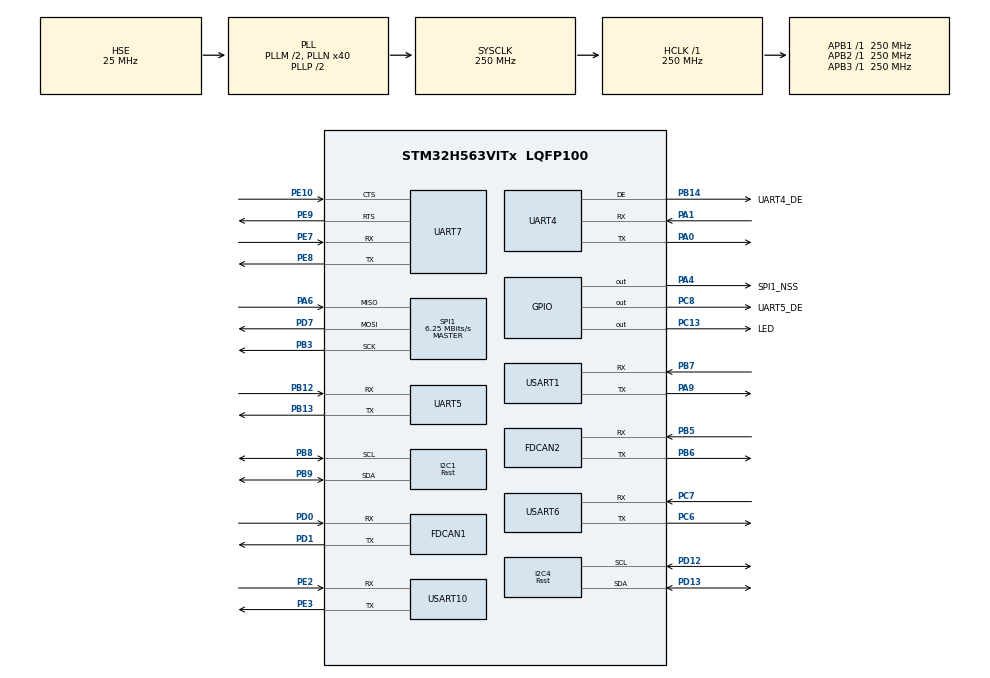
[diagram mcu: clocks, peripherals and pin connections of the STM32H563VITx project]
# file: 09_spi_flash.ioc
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BOOTPATH.BootPathName=LEGACY
BOOTPATH.UserSelectedBootPath=LEGACY
CORTEX_M33_NS.userName=CORTEX_M33
FDCAN1.CalculateBaudRateNominal=1666666
FDCAN1.CalculateTimeBitNominal=600
FDCAN1.CalculateTimeQuantumNominal=200.0
FDCAN1.Mode=FDCAN_MODE_INTERNAL_LOOPBACK
FDCAN2.CalculateBaudRateNominal=1666666
FDCAN2.CalculateTimeBitNominal=600
FDCAN2.CalculateTimeQuantumNominal=200.0
GPDMA1.CIRCULARMODE_GPDMACH1=ENABLE
GPDMA1.CIRCULARMODE_GPDMACH2=ENABLE
GPDMA1.RECAP_GPDMACH1=GPDMA1_REQUEST_USART1_RX
I2C1.I2C_Speed_Mode=I2C_Fast
I2C1.Timing=0x10C043E5
I2C4.I2C_Speed_Mode=I2C_Fast
I2C4.Timing=0x10C043E5
Mcu.Family=STM32H5
Mcu.Name=STM32H563VITx
Mcu.Package=LQFP100
NVIC.FDCAN1_IT0_IRQn=true\:0\:0\:false\:false\:true\:true\:true\:true
NVIC.FDCAN1_IT1_IRQn=true\:0\:0\:false\:false\:true\:true\:true\:true
NVIC.FDCAN2_IT0_IRQn=true\:0\:0\:false\:false\:true\:true\:true\:true
NVIC.FDCAN2_IT1_IRQn=true\:0\:0\:false\:false\:true\:true\:true\:true
NVIC.PriorityGroup=NVIC_PRIORITYGROUP_4
NVIC.USART1_IRQn=true\:0\:0\:false\:false\:true\:true\:true\:true
PA0.Mode=Asynchronous
PA0.Signal=UART4_TX
PA1.Mode=Asynchronous
PA1.Signal=UART4_RX
PA4.GPIO_Label=SPI1_NSS
PA4.Signal=GPIO_Output
PA6.Mode=Full_Duplex_Master
PA6.Signal=SPI1_MISO
PA9.Mode=Asynchronous
PA9.Signal=USART1_TX
PB12.Mode=Asynchronous
PB12.Signal=UART5_RX
PB13.Mode=Asynchronous
PB13.Signal=UART5_TX
PB14.GPIO_Label=UART4_DE
PB14.Mode=Hardware Flow Control (RS485)
PB14.Signal=UART4_DE
PB3(JTDO/TRACESWO).Mode=Full_Duplex_Master
PB3(JTDO/TRACESWO).Signal=SPI1_SCK
PB5.Mode=FDCAN_Activate
PB5.Signal=FDCAN2_RX
PB6.Mode=FDCAN_Activate
PB6.Signal=FDCAN2_TX
PB7.Mode=Asynchronous
PB7.Signal=USART1_RX
PB8.Mode=I2C
PB8.Signal=I2C1_SCL
PB9.Mode=I2C
PB9.Signal=I2C1_SDA
PC13.GPIO_Label=LED
PC13.Signal=GPIO_Output
PC14-OSC32_IN(OSC32_IN).Mode=LSE-External-Oscillator
PC14-OSC32_IN(OSC32_IN).Signal=RCC_OSC32_IN
PC15-OSC32_OUT(OSC32_OUT).Mode=LSE-External-Oscillator
PC15-OSC32_OUT(OSC32_OUT).Signal=RCC_OSC32_OUT
PC6.Mode=Asynchronous
PC6.Signal=USART6_TX
PC7.Mode=Asynchronous
PC7.Signal=USART6_RX
PC8.GPIO_Label=UART5_DE
PC8.Signal=GPIO_Output
PD0.Mode=FDCAN_Activate
PD0.Signal=FDCAN1_RX
PD1.Mode=FDCAN_Activate
PD1.Signal=FDCAN1_TX
PD12.Mode=I2C
PD12.Signal=I2C4_SCL
PD13.Mode=I2C
PD13.Signal=I2C4_SDA
PD7.Mode=Full_Duplex_Master
PD7.Signal=SPI1_MOSI
PE10.Mode=CTS_RTS
PE10.Signal=UART7_CTS
PE2.Mode=Asynchronous
PE2.Signal=USART10_RX
PE3.Mode=Asynchronous
PE3.Signal=USART10_TX
PE7.Mode=Asynchronous
PE7.Signal=UART7_RX
PE8.Mode=Asynchronous
PE8.Signal=UART7_TX
PE9.Mode=CTS_RTS
PE9.Signal=UART7_RTS
PH0-OSC_IN(PH0).Mode=HSE-External-Oscillator
PH0-OSC_IN(PH0).Signal=RCC_OSC_IN
PH1-OSC_OUT(PH1).Mode=HSE-External-Oscillator
PH1-OSC_OUT(PH1).Signal=RCC_OSC_OUT
ProjectManager.HeapSize=0x200
ProjectManager.StackSize=0x400
ProjectManager.TargetToolchain=STM32CubeIDE
RCC.ADCFreq_Value=250000000
RCC.AHBFreq_Value=250000000
RCC.APB1Freq_Value=250000000
RCC.APB1TimFreq_Value=250000000
RCC.APB2Freq_Value=250000000
RCC.APB2TimFreq_Value=250000000
RCC.APB3Freq_Value=250000000
RCC.CSI_VALUE=4000000
RCC.CortexFreq_Value=250000000
RCC.EPOD_VALUE=25000000
RCC.FDCANClockSelection=RCC_FDCANCLKSOURCE_PLL2Q
RCC.HCLKFreq_Value=250000000
RCC.HSE_VALUE=25000000
RCC.HSI48_VALUE=48000000
RCC.HSI_VALUE=64000000
RCC.LSIRC_VALUE=32000
RCC.PLL1Q=10
RCC.PLL2M=5
RCC.PLL2N=32
RCC.PLL2Source=RCC_PLL2_SOURCE_HSE
RCC.PLLM=2
RCC.PLLN=40
RCC.PLLSourceVirtual=RCC_PLL1_SOURCE_HSE
RCC.SYSCLKFreq_VALUE=250000000
RCC.SYSCLKSource=RCC_SYSCLKSOURCE_PLLCLK
RCC.USBFreq_Value=48000000
RCC.VCOOutputFreq_Value=500000000
SPI1.BaudRatePrescaler=SPI_BAUDRATEPRESCALER_8
SPI1.CalculateBaudRate=6.25 MBits/s
SPI1.DataSize=SPI_DATASIZE_8BIT
SPI1.Direction=SPI_DIRECTION_2LINES
SPI1.Mode=SPI_MODE_MASTER
SPI1.NSSPMode=SPI_NSS_PULSE_DISABLE
SPI1.VirtualType=VM_MASTER
USART1.VirtualMode-Asynchronous=VM_ASYNC
USART10.VirtualMode=VM_ASYNC
USART6.VirtualMode=VM_ASYNC
VP_BOOTPATH_VS_BOOTPATH.Mode=BP_Activate
VP_CORTEX_M33_NS_VS_Hclk.Mode=Hclk_Mode
VP_GPDMA1_VS_GPDMACH1.Mode=SIMPLEREQUEST_GPDMACH1
VP_GPDMA1_VS_GPDMACH2.Mode=SIMPLEREQUEST_GPDMACH2
VP_ICACHE_VS_ENABLE_ICACHE_MEMORY.Mode=Memoryregions
VP_ICACHE_VS_ICACHE.Mode=DirectMappedCache
VP_MEMORYMAP_VS_MEMORYMAP.Mode=CurAppReg
VP_PWR_VS_LPOM.Mode=PowerOptimisation
VP_PWR_VS_SECSignals.Mode=Security/Privilege
board=custom

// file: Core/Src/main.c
/* USER CODE BEGIN Header */
/**
 ******************************************************************************
 * @file           : main.c
 * @brief          : Main program body
 ******************************************************************************
 * @attention
 *
 * Copyright (c) 2026 STMicroelectronics.
 * All rights reserved.
 *
 * This software is licensed under terms that can be found in the LICENSE file
 * in the root directory of this software component.
 * If no LICENSE file comes with this software, it is provided AS-IS.
 *
 ******************************************************************************
 */

/**
 * @brief 이번 예제는 spi를 이용하여 W25Q256JV 플래쉬 메모리를 다뤄보도록 하겠습니다.
 *
 * @note    main파일이 너무 길어지는 관계로 별도의 파일 "custom_flash.c" "custom_flash.h"를 만들겠습니다.
 *          이번에도 마찬가지로 main파일에 많은 정보가 담겨 가독성이 떨어지는 관계로
 *          cli 함수도 그 파일내에 정의하겠습니다.
 *
 * @details 먼저 .ioc에서 spi1을 활성해준 후, Clock Configuration 탭에서 SPI1로 들어가는 클럭을
 *          25MHz로 맞춰줍시다.
 *          상세 설정은 .ioc를 참조해 줍시다.
 *
 *          아래 핀번호를 맞춰줍니다.
 *
 *          - MISO : PA6
 *          - MOSI : PD7
 *          - SCK  : PB3
 *          - NSS  : PA4 (GPIO OUTPUT모드로 핀설정 후 LOW로 세팅 해줍시다.)
 */

/* USER CODE END Header */
#include "main.h"
#include "fdcan.h"
#include "gpdma.h"
#include "i2c.h"
#include "icache.h"
#include "spi.h"
#include "usart.h"
#include "gpio.h"

/* USER CODE BEGIN Includes */
#include <stdbool.h>
#include <stdlib.h>
#include <string.h>

#include "cli.h"
#include "custom_can.h"
#include "ssd1306.h"

#include "custom_fram.h"
#include "custom_flash.h" // flash 추가

/* USER CODE END Includes */

/* USER CODE BEGIN PD */

#define _USE_CAN_LOOPBACK_MODE 0 // CAN loopback 사용 여부

/* USER CODE END PD */

/* USER CODE BEGIN PV */

static uint8_t debug_uart_rx_char;
static bool    cli_led_toggle_req;
static bool    oled_block_mode_req = false;
static bool    can_block_mode_req  = false;
static bool    is_fram_inited      = false;

extern UART_HandleTypeDef huart1;
extern UART_HandleTypeDef huart4;
extern UART_HandleTypeDef huart5;
extern UART_HandleTypeDef huart6;
extern UART_HandleTypeDef huart7;
extern UART_HandleTypeDef huart10;

extern FDCAN_HandleTypeDef hfdcan1;
extern FDCAN_HandleTypeDef hfdcan2;

/* USER CODE END PV */

void SystemClock_Config(void);
void PeriphCommonClock_Config(void);
/* USER CODE BEGIN PFP */

/**
 * @brief 각각의 기능에 대한 함수를 만들어 줍니다.
 */
void cliLed(cli_args_t *args);
void cliUart6(cli_args_t *args);
void cliUart10(cli_args_t *args);
void cliRs232(cli_args_t *args);
void cliRs485(cli_args_t *args);
void cliOled(cli_args_t *args);
void cliCan(cli_args_t *args);

/* USER CODE END PFP */

/* USER CODE BEGIN 0 */

/**
 * @brief uart 수신 콜백함수에서 cliProcess에 바로 문자를 하나씩 넘겨줍니다.
 */
void HAL_UART_RxCpltCallback(UART_HandleTypeDef *huart)
{
  if (huart == &huart1)
  {
    // OLED나 CAN 블로킹 모드가 아닐 때만 CLI 처리
    if (!oled_block_mode_req && !can_block_mode_req)
    {
      cliProcess(debug_uart_rx_char);
      HAL_UART_Receive_IT(&huart1, &debug_uart_rx_char, 1);
    }
  }
}

/**
 * @brief arduino와 같은 함수명 (선택 사항)
 */
uint32_t millis(void)
{
  return HAL_GetTick();
}

/**
 * @brief led처리 함수 : 사용법 (ex : "led toggle")
 */
void cliLed(cli_args_t *args)
{
  if (args->argc < 1)
  {
    cliPrintf("Usage: led on\r\n");
    cliPrintf("Usage: led off\r\n");
    cliPrintf("Usage: led toggle\r\n");
    return;
  }

  if (strcmp(args->argv[0], "on") == 0)
  {
    if (cli_led_toggle_req)
    {
      cli_led_toggle_req = false;
    }
    HAL_GPIO_WritePin(LED_GPIO_Port, LED_Pin, GPIO_PIN_RESET);
    cliPrintf("LED ON\r\n");
  }
  else if (strcmp(args->argv[0], "off") == 0)
  {
    if (cli_led_toggle_req)
    {
      cli_led_toggle_req = false;
    }
    HAL_GPIO_WritePin(LED_GPIO_Port, LED_Pin, GPIO_PIN_SET);
    cliPrintf("LED OFF\r\n");
  }
  else if (strcmp(args->argv[0], "toggle") == 0)
  {
    cli_led_toggle_req = true;
  }
  else
  {
    cliPrintf("Error: use 'on' or 'off'\r\n");
  }
}

/**
 * @brief uart send 함수 : 사용법 (ex : "uart6")
 */
void cliUart6(cli_args_t *args)
{
  char msg[] = "[SENT]Hello Uart!\r\n";
  HAL_UART_Transmit(&huart6, (uint8_t *)msg, strlen(msg), 100);
  cliPrintf("UART6 transmitted\r\n");
}

/**
 * @brief uart send 함수 : 사용법 (ex : "uart10")
 */
void cliUart10(cli_args_t *args)
{
  char msg[] = "[SENT]Hello Uart!\r\n";
  HAL_UART_Transmit(&huart10, (uint8_t *)msg, strlen(msg), 100);
  cliPrintf("UART10 transmitted\r\n");
}

/**
 * @brief rs232 send 함수 : 사용법 (ex : "rs232")
 */
void cliRs232(cli_args_t *args)
{
  char msg[] = "[RS232]Hello Uart!\r\n";
  HAL_UART_Transmit(&huart7, (uint8_t *)msg, strlen(msg), 100);
  cliPrintf("RS232 transmitted\r\n");
}

/**
 * @brief rs485 send 함수 : 사용법 (ex : "rs485 1")
 */
void cliRs485(cli_args_t *args)
{
  if (args->argc < 1)
  {
    cliPrintf("Usage: rs485 1 or 2\r\n");
    return;
  }

  if (strcmp(args->argv[0], "1") == 0)
  {
    HAL_GPIO_WritePin(UART5_DE_GPIO_Port, UART5_DE_Pin, GPIO_PIN_SET);

    char msg[] = "[RS485-1]Hello Uart!\r\n";
    HAL_UART_Transmit(&huart5, (uint8_t *)msg, strlen(msg), 100);

    while (__HAL_UART_GET_FLAG(&huart5, UART_FLAG_TC) == RESET)
      ;

    HAL_GPIO_WritePin(UART5_DE_GPIO_Port, UART5_DE_Pin, GPIO_PIN_RESET);
    cliPrintf("RS485-1 transmitted\r\n");
  }
  else if (strcmp(args->argv[0], "2") == 0)
  {
    HAL_GPIO_WritePin(UART4_DE_GPIO_Port, UART4_DE_Pin, GPIO_PIN_SET);

    char msg[] = "[RS485-2]Hello Uart!\r\n";
    HAL_UART_Transmit(&huart4, (uint8_t *)msg, strlen(msg), 100);

    while (__HAL_UART_GET_FLAG(&huart4, UART_FLAG_TC) == RESET)
      ;

    HAL_GPIO_WritePin(UART4_DE_GPIO_Port, UART4_DE_Pin, GPIO_PIN_RESET);
    cliPrintf("RS485-2 transmitted\r\n");
  }
  else
  {
    cliPrintf("Error: use '1' or '2'\r\n");
  }
}

/**
 * @brief oled에 문자열을 출력하는 함수
 *        (사용법 : oled test 입력 후 실시간으로 타이핑 시 oled에 입력)
 *        (나갈때는 Enter)
 */
void cliOled(cli_args_t *args)
{
  if (args->argc < 1 || strcmp(args->argv[0], "test") != 0)
  {
    cliPrintf("Usage: oled test\r\n");
    return;
  }

  oled_block_mode_req = true;

  HAL_UART_AbortReceive_IT(&huart1);

  ssd1306Clear();
  ssd1306SetCursor(0, 0);
  ssd1306UpdateScreen();

  uint8_t ch;

  while (1)
  {
    HAL_StatusTypeDef ret = HAL_UART_Receive(&huart1, &ch, 1, 10);

    if (ret == HAL_OK)
    {
      if (ch == '\r' || ch == '\n')
      {
        ssd1306Clear();
        ssd1306UpdateScreen();
        break;
      }
      else
      {
        ssd1306WriteChar((char)ch);
        ssd1306UpdateScreen();
      }
    }
  }

  oled_block_mode_req = false;
  HAL_UART_Receive_IT(&huart1, &debug_uart_rx_char, 1);
}

/**
 * @brief CAN 테스트 명령어
 *        사용법: can test 1 (CAN1 테스트)
 *               can test 2 (CAN2 테스트)
 */
void cliCan(cli_args_t *args)
{
  if (args->argc < 2)
  {
    cliPrintf("Usage: can test ch\r\n");
    cliPrintf("ch: [1 ~ 2]\r\n");
    return;
  }

  if (strcmp(args->argv[0], "test") != 0)
  {
    cliPrintf("Unknown command. Use 'can test ch'\r\n");
    return;
  }

  uint8_t ch = 0;
  if (args->argc >= 2 && strlen(args->argv[1]) == 1)
  {
    if (args->argv[1][0] == '1')
    {
      ch = 1;
    }
    else if (args->argv[1][0] == '2')
    {
      ch = 2;
    }
  }
  else
  {
    cliPrintf("Error: Channel must be 1 or 2\r\n");
    return;
  }

  if (ch == 0)
  {
    cliPrintf("Error: Invalid channel format\r\n");
    return;
  }

  FDCAN_HandleTypeDef *p_can = (ch == 1) ? &hfdcan1 : &hfdcan2;

#if _USE_CAN_LOOPBACK_MODE
  if (!customCanInit(p_can, true))           // 루프백 모드
  {
    cliPrintf("Error: CAN init failed\r\n"); // can 초기화 실패
    return;
  }
  cliPrintf("CAN%d started in LOOPBACK mode\r\n", ch);
#else
  if (!customCanInit(p_can, false))
  {
    cliPrintf("Error: CAN init failed\r\n");
    return;
  }
  cliPrintf("CAN%d started in NORMAL mode\r\n", ch);
#endif

  can_block_mode_req = true;
  HAL_UART_AbortReceive_IT(&huart1);

  uint8_t uart_rx_data;

  while (1)
  {
    HAL_StatusTypeDef ret = HAL_UART_Receive(&huart1, &uart_rx_data, 1, 10);

    if (ret == HAL_OK)
    {
      if (uart_rx_data == '\r' || uart_rx_data == '\n')
      {
        break;
      }

      FDCAN_TxHeaderTypeDef tx_header;
      uint8_t               tx_data[8] = {0};

      tx_data[0] = uart_rx_data;

      tx_header.Identifier          = 0x123;
      tx_header.IdType              = FDCAN_STANDARD_ID;
      tx_header.TxFrameType         = FDCAN_DATA_FRAME;
      tx_header.DataLength          = FDCAN_DLC_BYTES_8;
      tx_header.ErrorStateIndicator = FDCAN_ESI_ACTIVE;
      tx_header.BitRateSwitch       = FDCAN_BRS_OFF;
      tx_header.FDFormat            = FDCAN_CLASSIC_CAN;
      tx_header.TxEventFifoControl  = FDCAN_NO_TX_EVENTS;
      tx_header.MessageMarker       = 0;

      // 메시지 전송
      if (HAL_FDCAN_AddMessageToTxFifoQ(p_can, &tx_header, tx_data) != HAL_OK)
      {
        cliPrintf("[TX] Error: Failed to send\r\n");
      }
      else
      {
        cliPrintf("[TX] Char:'%c' (0x%02X) sent\r\n",
                  (uart_rx_data >= 32 && uart_rx_data <= 126) ? uart_rx_data : '.',
                  uart_rx_data);
      }

      uint32_t rx_fifo = HAL_FDCAN_GetRxFifoFillLevel(p_can, FDCAN_RX_FIFO0);

      // RX FIFO 비우기
      while (rx_fifo > 0)
      {
        FDCAN_RxHeaderTypeDef rx_header;
        uint8_t               rx_data[8];

        if (HAL_FDCAN_GetRxMessage(p_can, FDCAN_RX_FIFO0, &rx_header, rx_data) == HAL_OK)
        {
          cliPrintf(" [RX] ID:0x%03lX 0x%02X '%c'\r\n",
                    rx_header.Identifier, rx_data[0],
                    (rx_data[0] >= 32 && rx_data[0] <= 126) ? rx_data[0] : '.');
        }
        rx_fifo--;
      }
    }
  }

  customCanClose(p_can);

  can_block_mode_req = false;
  HAL_UART_Receive_IT(&huart1, &debug_uart_rx_char, 1);
}

/**
 * @brief fram 테스트
 *        사용법 : fram info,
 *                 fram write 0 0xFF
 *                 fram read  0
 */
void cliFram(cli_args_t *args)
{
  uint32_t addr;
  uint32_t data;
  uint8_t  read_data;

  if (args->argc == 1 && args->isStr(0, "info"))
  {
    if (is_fram_inited)
    {
      cliPrintf("FRAM ready\n");
    }
    else
    {
      cliPrintf("FRAM failed\n");
    }
  }
  else if (args->argc == 2 && args->isStr(0, "read"))
  {
    addr = args->getData(1);

    if (customFramRead(addr, &read_data))
    {
      cliPrintf("addr 0x%04X -> 0x%02X\n", addr, read_data);
    }
    else
    {
      cliPrintf("read fail\n");
    }
  }
  else if (args->argc == 3 && args->isStr(0, "write"))
  {
    addr = args->getData(1);
    data = args->getData(2);

    if (customFramWrite(addr, (uint8_t)data))
    {
      cliPrintf("write OK\n");
    }
    else
    {
      cliPrintf("write fail\n");
    }
  }
  else
  {
    cliPrintf("fram info\n");
    cliPrintf("fram read [addr]\n");
    cliPrintf("fram write [addr] [data]\n");
  }
}

// flash 부터는 자체 파일에서

/* USER CODE END 0 */

int main(void)
{

  /* MCU Configuration--------------------------------------------------------*/

  /* Reset of all peripherals, Initializes the Flash interface and the Systick. */
  HAL_Init();

  /* Configure the system clock */
  SystemClock_Config();

  /* Configure the peripherals common clocks */
  PeriphCommonClock_Config();

  /* Initialize all configured peripherals */
  MX_GPIO_Init();
  MX_GPDMA1_Init();
  MX_USART1_UART_Init();
  MX_USART6_UART_Init();
  MX_USART10_UART_Init();
  MX_ICACHE_Init();
  MX_UART7_Init();
  MX_UART4_Init();
  MX_UART5_Init();
  MX_I2C1_Init();
  MX_FDCAN1_Init();
  MX_FDCAN2_Init();
  MX_I2C4_Init();
  MX_SPI1_Init();
  /* USER CODE BEGIN 2 */
  HAL_GPIO_WritePin(LED_GPIO_Port, LED_Pin, GPIO_PIN_SET);

  HAL_UART_Receive_IT(&huart1, &debug_uart_rx_char, 1);

  HAL_GPIO_WritePin(UART4_DE_GPIO_Port, UART4_DE_Pin, GPIO_PIN_RESET);
  HAL_GPIO_WritePin(UART5_DE_GPIO_Port, UART5_DE_Pin, GPIO_PIN_RESET);

  // cli 초기화 및 명령을 등록 해줍시다.
  cliInit();
  cliAdd("led", cliLed);
  cliAdd("uart6", cliUart6);
  cliAdd("uart10", cliUart10);
  cliAdd("rs232", cliRs232);
  cliAdd("rs485", cliRs485);
  cliAdd("oled", cliOled);
  cliAdd("can", cliCan);
  cliAdd("fram", cliFram);
  cliAdd("flash",cliFlash);

  ssd1306Init();

  is_fram_inited = customFramInit();

  customFlashInit(); // flash init

  /* USER CODE END 2 */

  /* Infinite loop */
  /* USER CODE BEGIN WHILE */

  while (1)
  {
    if (cli_led_toggle_req)
    {
      static uint32_t pre_time;
      static bool     current_led_state = true;

      if (millis() - pre_time > 500)
      {
        pre_time          = millis();
        current_led_state = !current_led_state;
        HAL_GPIO_WritePin(LED_GPIO_Port, LED_Pin, current_led_state);
      }
    }

    /* USER CODE END WHILE */

  }
}

void SystemClock_Config(void)
{
  RCC_OscInitTypeDef RCC_OscInitStruct = {0};
  RCC_ClkInitTypeDef RCC_ClkInitStruct = {0};

  /** Configure the main internal regulator output voltage
  */
  __HAL_PWR_VOLTAGESCALING_CONFIG(PWR_REGULATOR_VOLTAGE_SCALE0);

  while(!__HAL_PWR_GET_FLAG(PWR_FLAG_VOSRDY)) {}

  /** Initializes the RCC Oscillators according to the specified parameters
  * in the RCC_OscInitTypeDef structure.
  */
  RCC_OscInitStruct.OscillatorType = RCC_OSCILLATORTYPE_HSE;
  RCC_OscInitStruct.HSEState = RCC_HSE_ON;
  RCC_OscInitStruct.PLL.PLLState = RCC_PLL_ON;
  RCC_OscInitStruct.PLL.PLLSource = RCC_PLL1_SOURCE_HSE;
  RCC_OscInitStruct.PLL.PLLM = 2;
  RCC_OscInitStruct.PLL.PLLN = 40;
  RCC_OscInitStruct.PLL.PLLP = 2;
  RCC_OscInitStruct.PLL.PLLQ = 10;
  RCC_OscInitStruct.PLL.PLLR = 2;
  RCC_OscInitStruct.PLL.PLLRGE = RCC_PLL1_VCIRANGE_3;
  RCC_OscInitStruct.PLL.PLLVCOSEL = RCC_PLL1_VCORANGE_WIDE;
  RCC_OscInitStruct.PLL.PLLFRACN = 0;
  if (HAL_RCC_OscConfig(&RCC_OscInitStruct) != HAL_OK)
  {
    Error_Handler();
  }

  /** Initializes the CPU, AHB and APB buses clocks
  */
  RCC_ClkInitStruct.ClockType = RCC_CLOCKTYPE_HCLK|RCC_CLOCKTYPE_SYSCLK
                              |RCC_CLOCKTYPE_PCLK1|RCC_CLOCKTYPE_PCLK2
                              |RCC_CLOCKTYPE_PCLK3;
  RCC_ClkInitStruct.SYSCLKSource = RCC_SYSCLKSOURCE_PLLCLK;
  RCC_ClkInitStruct.AHBCLKDivider = RCC_SYSCLK_DIV1;
  RCC_ClkInitStruct.APB1CLKDivider = RCC_HCLK_DIV1;
  RCC_ClkInitStruct.APB2CLKDivider = RCC_HCLK_DIV1;
  RCC_ClkInitStruct.APB3CLKDivider = RCC_HCLK_DIV1;

  if (HAL_RCC_ClockConfig(&RCC_ClkInitStruct, FLASH_LATENCY_5) != HAL_OK)
  {
    Error_Handler();
  }

  /** Configure the programming delay
  */
  __HAL_FLASH_SET_PROGRAM_DELAY(FLASH_PROGRAMMING_DELAY_2);
}

void PeriphCommonClock_Config(void)
{
  RCC_PeriphCLKInitTypeDef PeriphClkInitStruct = {0};

  /** Initializes the peripherals clock
  */
  PeriphClkInitStruct.PeriphClockSelection = RCC_PERIPHCLK_FDCAN;
  PeriphClkInitStruct.PLL2.PLL2Source = RCC_PLL2_SOURCE_HSE;
  PeriphClkInitStruct.PLL2.PLL2M = 5;
  PeriphClkInitStruct.PLL2.PLL2N = 32;
  PeriphClkInitStruct.PLL2.PLL2P = 2;
  PeriphClkInitStruct.PLL2.PLL2Q = 2;
  PeriphClkInitStruct.PLL2.PLL2R = 2;
  PeriphClkInitStruct.PLL2.PLL2RGE = RCC_PLL2_VCIRANGE_2;
  PeriphClkInitStruct.PLL2.PLL2VCOSEL = RCC_PLL2_VCORANGE_WIDE;
  PeriphClkInitStruct.PLL2.PLL2FRACN = 0;
  PeriphClkInitStruct.PLL2.PLL2ClockOut = RCC_PLL2_DIVQ;
  PeriphClkInitStruct.FdcanClockSelection = RCC_FDCANCLKSOURCE_PLL2Q;
  if (HAL_RCCEx_PeriphCLKConfig(&PeriphClkInitStruct) != HAL_OK)
  {
    Error_Handler();
  }
}

void Error_Handler(void)
{
  __disable_irq();
  while (1)
  {
  }
}
